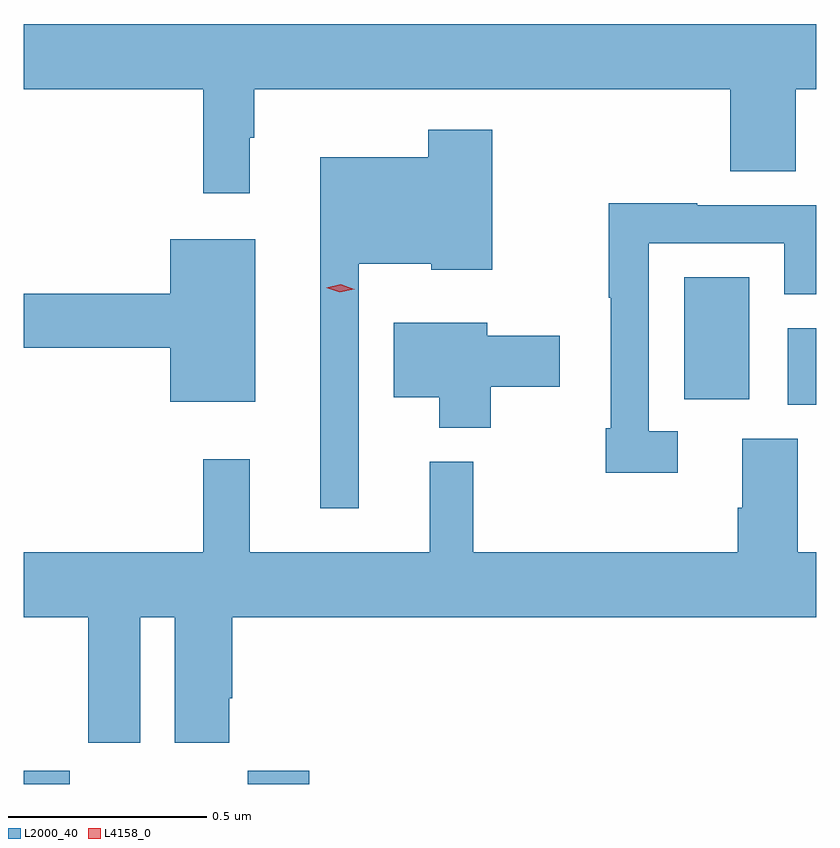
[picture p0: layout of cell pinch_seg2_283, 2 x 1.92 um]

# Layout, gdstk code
import gdstk
lib = gdstk.Library(unit=1e-6, precision=1e-09)
def R(c, l, rs):  # rectangles x0, y0, x1, y1
    for r in rs: c.add(gdstk.rectangle(r[:2], r[2:], *l))
def P(c, l, *ps):  # polygons
    for p in ps: c.add(gdstk.Polygon(p, *l))
L2000_40 = (2000, 40)
L4158_0 = (4158, 0)

pinch_seg2_283 = lib.new_cell('pinch_seg2_283')
R(pinch_seg2_283, L2000_40, [(904.024,645.883,904.14,645.916), (904.589,645.883,904.745,645.916), (905.952,646.839,906.024,647.033), (905.69,646.854,905.854,647.161)])
P(pinch_seg2_283, L2000_40, [(904.594,647.513),(904.606,647.513),(904.606,647.636),(905.807,647.636),(905.807,647.428),(905.972,647.428),(905.972,647.636),(906.024,647.636),(906.024,647.8),(904.024,647.8),(904.024,647.636),(904.477,647.636),(904.477,647.373),(904.594,647.373)],
  [(904.869,647.195),(905.052,647.195),(905.052,647.18),(905.206,647.18),(905.206,647.533),(905.045,647.533),(905.045,647.464),(904.772,647.464),(904.772,646.578),(904.869,646.578)],
  [(905.674,646.773),(905.601,646.773),(905.601,647.247),(905.943,647.247),(905.943,647.118),(906.024,647.118),(906.024,647.343),(905.723,647.343),(905.723,647.348),(905.5,647.348),(905.5,647.11),(905.505,647.11),(905.505,646.78),(905.493,646.78),(905.493,646.668),(905.674,646.668)],
  [(904.609,647.257),(904.394,647.257),(904.394,647.12),(904.024,647.12),(904.024,646.984),(904.394,646.984),(904.394,646.847),(904.609,646.847)],
  [(905.202,646.885),(905.377,646.885),(905.377,647.014),(905.194,647.014),(905.194,647.047),(904.958,647.047),(904.958,646.859),(905.072,646.859),(905.072,646.781),(905.202,646.781)],
  [(904.318,646.304),(904.406,646.304),(904.406,645.987),(904.543,645.987),(904.543,646.099),(904.55,646.099),(904.55,646.304),(906.024,646.304),(906.024,646.468),(905.977,646.468),(905.977,646.754),(905.837,646.754),(905.837,646.58),(905.825,646.58),(905.825,646.468),(905.158,646.468),(905.158,646.696),(905.048,646.696),(905.048,646.468),(904.595,646.468),(904.595,646.702),(904.477,646.702),(904.477,646.468),(904.024,646.468),(904.024,646.304),(904.187,646.304),(904.187,645.987),(904.318,645.987)])
P(pinch_seg2_283, L4158_0, [(904.822,647.123),(904.787,647.135),(904.787,647.135),(904.787,647.135),(904.824,647.143),(904.858,647.131),(904.859,647.131),(904.858,647.131)])

lib.write_gds('pinch_seg2_283.gds')
